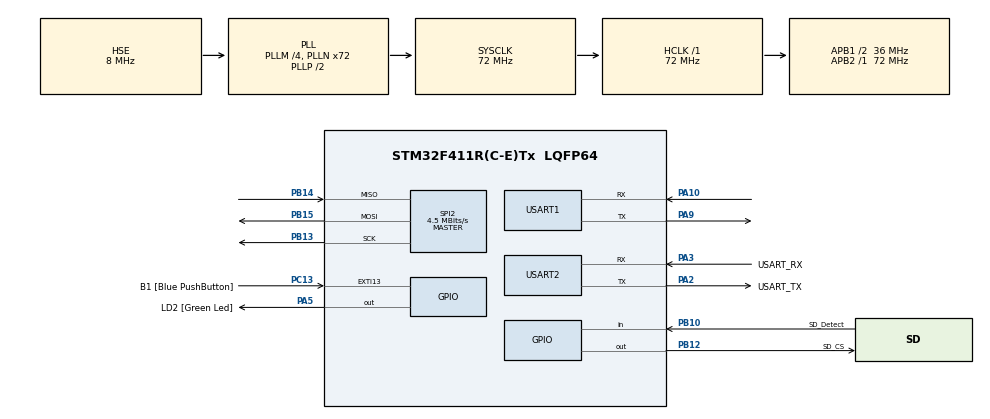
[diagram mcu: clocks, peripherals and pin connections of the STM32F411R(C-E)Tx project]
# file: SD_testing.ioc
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FATFS._FS_TINY=0
FATFS._MAX_SS=512
FATFS._USE_LFN=0
Mcu.Family=STM32F4
Mcu.Name=STM32F411R(C-E)Tx
Mcu.Package=LQFP64
NVIC.PriorityGroup=NVIC_PRIORITYGROUP_0
PA10.Mode=Asynchronous
PA10.Signal=USART1_RX
PA13.GPIO_Label=TMS
PA13.Mode=Serial_Wire
PA13.Signal=SYS_JTMS-SWDIO
PA14.GPIO_Label=TCK
PA14.Mode=Serial_Wire
PA14.Signal=SYS_JTCK-SWCLK
PA2.GPIO_Label=USART_TX
PA2.Mode=Asynchronous
PA2.Signal=USART2_TX
PA3.GPIO_Label=USART_RX
PA3.Mode=Asynchronous
PA3.Signal=USART2_RX
PA5.GPIO_Label=LD2 [Green Led]
PA5.Signal=GPIO_Output
PA9.Mode=Asynchronous
PA9.Signal=USART1_TX
PB10.GPIO_Label=SD_Detect
PB10.GPIO_PuPd=GPIO_PULLUP
PB10.Signal=GPIO_Input
PB12.GPIO_Label=SD_CS
PB12.GPIO_ModeDefaultOutputPP=GPIO_MODE_OUTPUT_PP
PB12.GPIO_PuPd=GPIO_PULLUP
PB12.GPIO_Speed=GPIO_SPEED_FREQ_HIGH
PB12.PinState=GPIO_PIN_SET
PB12.Signal=GPIO_Output
PB13.GPIO_PuPd=GPIO_PULLUP
PB13.Mode=Full_Duplex_Master
PB13.Signal=SPI2_SCK
PB14.GPIO_PuPd=GPIO_PULLUP
PB14.Mode=Full_Duplex_Master
PB14.Signal=SPI2_MISO
PB15.GPIO_PuPd=GPIO_PULLUP
PB15.Mode=Full_Duplex_Master
PB15.Signal=SPI2_MOSI
PC13-ANTI_TAMP.GPIO_Label=B1 [Blue PushButton]
PC13-ANTI_TAMP.GPIO_ModeDefaultEXTI=GPIO_MODE_IT_FALLING
PC13-ANTI_TAMP.Signal=GPXTI13
PC14-OSC32_IN.Mode=LSE-External-Oscillator
PC14-OSC32_IN.Signal=RCC_OSC32_IN
PC15-OSC32_OUT.Mode=LSE-External-Oscillator
PC15-OSC32_OUT.Signal=RCC_OSC32_OUT
PH0\ -\ OSC_IN.Mode=HSE-External-Clock-Source
PH0\ -\ OSC_IN.Signal=RCC_OSC_IN
PH1\ -\ OSC_OUT.Mode=HSE-External-Clock-Source
PH1\ -\ OSC_OUT.Signal=RCC_OSC_OUT
ProjectManager.HeapSize=0x200
ProjectManager.StackSize=0x400
ProjectManager.TargetToolchain=STM32CubeIDE
RCC.48MHZClocksFreq_Value=48000000
RCC.AHBFreq_Value=72000000
RCC.APB1CLKDivider=RCC_HCLK_DIV2
RCC.APB1Freq_Value=36000000
RCC.APB1TimFreq_Value=72000000
RCC.APB2Freq_Value=72000000
RCC.APB2TimFreq_Value=72000000
RCC.CortexFreq_Value=72000000
RCC.FLatency-AdvancedSettings=FLASH_LATENCY_2
RCC.HCLKFreq_Value=72000000
RCC.HSE_VALUE=8000000
RCC.HSI_VALUE=16000000
RCC.PLLM=4
RCC.PLLN=72
RCC.PLLQ=3
RCC.PLLSourceVirtual=RCC_PLLSOURCE_HSE
RCC.SYSCLKFreq_VALUE=72000000
RCC.SYSCLKSource=RCC_SYSCLKSOURCE_PLLCLK
RCC.VCOOutputFreq_Value=144000000
SPI2.BaudRatePrescaler=SPI_BAUDRATEPRESCALER_8
SPI2.CalculateBaudRate=4.5 MBits/s
SPI2.Direction=SPI_DIRECTION_2LINES
SPI2.Mode=SPI_MODE_MASTER
SPI2.VirtualType=VM_MASTER
USART1.VirtualMode=VM_ASYNC
USART2.VirtualMode=VM_ASYNC
VP_FATFS_VS_Generic.Mode=User_defined
board=NUCLEO-F411RE

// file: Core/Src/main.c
/* USER CODE BEGIN Header */
/**
  ******************************************************************************
  * @file           : main.c
  * @brief          : Main program body
  ******************************************************************************
  * @attention
  *
  * Copyright (c) 2024 STMicroelectronics.
  * All rights reserved.
  *
  * This software is licensed under terms that can be found in the LICENSE file
  * in the root directory of this software component.
  * If no LICENSE file comes with this software, it is provided AS-IS.
  *
  ******************************************************************************
  */
/* USER CODE END Header */
#include "main.h"
#include "fatfs.h"

/* USER CODE BEGIN Includes */
#include <stdio.h>
#include <string.h>
#include <stdarg.h>

/* USER CODE END Includes */

SPI_HandleTypeDef hspi2;

UART_HandleTypeDef huart1;
UART_HandleTypeDef huart2;

void SystemClock_Config(void);
static void MX_GPIO_Init(void);
static void MX_USART2_UART_Init(void);
static void MX_SPI2_Init(void);
static void MX_USART1_UART_Init(void);

/* USER CODE BEGIN 0 */
#ifdef __GNUC__
  /* With GCC, small printf (option LD Linker->Libraries->Small printf
     set to 'Yes') calls __io_putchar() */
int __io_putchar(int ch)
#else
int fputc(int ch, FILE *f)
#endif /* __GNUC__ */
{
  /* Place your implementation of fputc here */
  /* e.g. write a character to the UART3 and Loop until the end of transmission */
  HAL_UART_Transmit(&huart1, (uint8_t *)&ch, 1, HAL_MAX_DELAY);
  return ch;
}

/* USER CODE END 0 */

int main(void)
{

  /* MCU Configuration--------------------------------------------------------*/

  /* Reset of all peripherals, Initializes the Flash interface and the Systick. */
  HAL_Init();

  /* Configure the system clock */
  SystemClock_Config();

  /* Initialize all configured peripherals */
  MX_GPIO_Init();
  MX_USART2_UART_Init();
  MX_SPI2_Init();
  MX_FATFS_Init();
  MX_USART1_UART_Init();
  /* USER CODE BEGIN 2 */
  printf("\r\n~ SD card demo by kiwih ~\r\n\r\n");

  HAL_Delay(1000); //a short delay is important to let the SD card settle

  //some variables for FatFs
  FATFS FatFs; 	//Fatfs handle
  FIL fil; 		//File handle
  FRESULT fres; //Result after operations

  //Open the file system
  fres = f_mount(&FatFs, "", 1); //1=mount now
  if (fres != FR_OK) {
	printf("f_mount error (%i)\r\n", fres);
	while(1);
  }

  //Let's get some statistics from the SD card
  DWORD free_clusters, free_sectors, total_sectors;

  FATFS* getFreeFs;

  fres = f_getfree("", &free_clusters, &getFreeFs);
  if (fres != FR_OK) {
	printf("f_getfree error (%i)\r\n", fres);
	while(1);
  }

  //Formula comes from ChaN's documentation
  total_sectors = (getFreeFs->n_fatent - 2) * getFreeFs->csize;
  free_sectors = free_clusters * getFreeFs->csize;

  printf("SD card stats:\r\n%10lu KiB total drive space.\r\n%10lu KiB available.\r\n", total_sectors / 2, free_sectors / 2);

//  //Now let's try to open file "test.txt"
//  fres = f_open(&fil, "test.txt", FA_READ);
//  if (fres != FR_OK) {
//	printf("f_open error (%i)\r\n", fres);
//	while(1);
//  }
//  printf("I was able to open 'test.txt' for reading!\r\n");
//
//  //Read 30 bytes from "test.txt" on the SD card
//  BYTE readBuf[30];
//
//  //We can either use f_read OR f_gets to get data out of files
//  //f_gets is a wrapper on f_read that does some string formatting for us
//  TCHAR* rres = f_gets((TCHAR*)readBuf, 30, &fil);
//  if(rres != 0) {
//	printf("Read string from 'test.txt' contents: %s\r\n", readBuf);
//  } else {
//	printf("f_gets error (%i)\r\n", fres);
//  }
//
//  //Be a tidy kiwi - don't forget to close your file!
//  f_close(&fil);
//
//  //Now let's try and write a file "write.txt"
//  fres = f_open(&fil, "write.txt", FA_WRITE | FA_OPEN_ALWAYS | FA_CREATE_ALWAYS);
//  if(fres == FR_OK) {
//	printf("I was able to open 'write.txt' for writing\r\n");
//  } else {
//	printf("f_open error (%i)\r\n", fres);
//  }
//
//  //Copy in a string
//  strncpy((char*)readBuf, "a new file is made!", 20);
//  UINT bytesWrote;
//  fres = f_write(&fil, readBuf, 19, &bytesWrote);
//  if(fres == FR_OK) {
//	printf("Wrote %i bytes to 'write.txt'!\r\n", bytesWrote);
//  } else {
//	printf("f_write error (%i)\r\n", fres);
//  }
//
//  //Be a tidy kiwi - don't forget to close your file!
//  f_close(&fil);
//
//  //We're done, so de-mount the drive
//  f_mount(NULL, "", 0);
  /* USER CODE END 2 */

  /* Infinite loop */
  while (1)
  {

  }
}

void SystemClock_Config(void)
{
  RCC_OscInitTypeDef RCC_OscInitStruct = {0};
  RCC_ClkInitTypeDef RCC_ClkInitStruct = {0};

  /** Configure the main internal regulator output voltage
  */
  __HAL_RCC_PWR_CLK_ENABLE();
  __HAL_PWR_VOLTAGESCALING_CONFIG(PWR_REGULATOR_VOLTAGE_SCALE1);

  /** Initializes the RCC Oscillators according to the specified parameters
  * in the RCC_OscInitTypeDef structure.
  */
  RCC_OscInitStruct.OscillatorType = RCC_OSCILLATORTYPE_HSE;
  RCC_OscInitStruct.HSEState = RCC_HSE_BYPASS;
  RCC_OscInitStruct.PLL.PLLState = RCC_PLL_ON;
  RCC_OscInitStruct.PLL.PLLSource = RCC_PLLSOURCE_HSE;
  RCC_OscInitStruct.PLL.PLLM = 4;
  RCC_OscInitStruct.PLL.PLLN = 72;
  RCC_OscInitStruct.PLL.PLLP = RCC_PLLP_DIV2;
  RCC_OscInitStruct.PLL.PLLQ = 3;
  if (HAL_RCC_OscConfig(&RCC_OscInitStruct) != HAL_OK)
  {
    Error_Handler();
  }

  /** Initializes the CPU, AHB and APB buses clocks
  */
  RCC_ClkInitStruct.ClockType = RCC_CLOCKTYPE_HCLK|RCC_CLOCKTYPE_SYSCLK
                              |RCC_CLOCKTYPE_PCLK1|RCC_CLOCKTYPE_PCLK2;
  RCC_ClkInitStruct.SYSCLKSource = RCC_SYSCLKSOURCE_PLLCLK;
  RCC_ClkInitStruct.AHBCLKDivider = RCC_SYSCLK_DIV1;
  RCC_ClkInitStruct.APB1CLKDivider = RCC_HCLK_DIV2;
  RCC_ClkInitStruct.APB2CLKDivider = RCC_HCLK_DIV1;

  if (HAL_RCC_ClockConfig(&RCC_ClkInitStruct, FLASH_LATENCY_2) != HAL_OK)
  {
    Error_Handler();
  }
}

static void MX_SPI2_Init(void)
{

  /* SPI2 parameter configuration*/
  hspi2.Instance = SPI2;
  hspi2.Init.Mode = SPI_MODE_MASTER;
  hspi2.Init.Direction = SPI_DIRECTION_2LINES;
  hspi2.Init.DataSize = SPI_DATASIZE_8BIT;
  hspi2.Init.CLKPolarity = SPI_POLARITY_LOW;
  hspi2.Init.CLKPhase = SPI_PHASE_1EDGE;
  hspi2.Init.NSS = SPI_NSS_SOFT;
  hspi2.Init.BaudRatePrescaler = SPI_BAUDRATEPRESCALER_8;
  hspi2.Init.FirstBit = SPI_FIRSTBIT_MSB;
  hspi2.Init.TIMode = SPI_TIMODE_DISABLE;
  hspi2.Init.CRCCalculation = SPI_CRCCALCULATION_DISABLE;
  hspi2.Init.CRCPolynomial = 10;
  if (HAL_SPI_Init(&hspi2) != HAL_OK)
  {
    Error_Handler();
  }

}

static void MX_USART1_UART_Init(void)
{

  huart1.Instance = USART1;
  huart1.Init.BaudRate = 115200;
  huart1.Init.WordLength = UART_WORDLENGTH_8B;
  huart1.Init.StopBits = UART_STOPBITS_1;
  huart1.Init.Parity = UART_PARITY_NONE;
  huart1.Init.Mode = UART_MODE_TX_RX;
  huart1.Init.HwFlowCtl = UART_HWCONTROL_NONE;
  huart1.Init.OverSampling = UART_OVERSAMPLING_16;
  if (HAL_UART_Init(&huart1) != HAL_OK)
  {
    Error_Handler();
  }

}

static void MX_USART2_UART_Init(void)
{

  huart2.Instance = USART2;
  huart2.Init.BaudRate = 115200;
  huart2.Init.WordLength = UART_WORDLENGTH_8B;
  huart2.Init.StopBits = UART_STOPBITS_1;
  huart2.Init.Parity = UART_PARITY_NONE;
  huart2.Init.Mode = UART_MODE_TX_RX;
  huart2.Init.HwFlowCtl = UART_HWCONTROL_NONE;
  huart2.Init.OverSampling = UART_OVERSAMPLING_16;
  if (HAL_UART_Init(&huart2) != HAL_OK)
  {
    Error_Handler();
  }

}

static void MX_GPIO_Init(void)
{
  GPIO_InitTypeDef GPIO_InitStruct = {0};

  /* GPIO Ports Clock Enable */
  __HAL_RCC_GPIOC_CLK_ENABLE();
  __HAL_RCC_GPIOH_CLK_ENABLE();
  __HAL_RCC_GPIOA_CLK_ENABLE();
  __HAL_RCC_GPIOB_CLK_ENABLE();

  /*Configure GPIO pin Output Level */
  HAL_GPIO_WritePin(LD2_GPIO_Port, LD2_Pin, GPIO_PIN_RESET);

  /*Configure GPIO pin Output Level */
  HAL_GPIO_WritePin(SD_CS_GPIO_Port, SD_CS_Pin, GPIO_PIN_SET);

  /*Configure GPIO pin : B1_Pin */
  GPIO_InitStruct.Pin = B1_Pin;
  GPIO_InitStruct.Mode = GPIO_MODE_IT_FALLING;
  GPIO_InitStruct.Pull = GPIO_NOPULL;
  HAL_GPIO_Init(B1_GPIO_Port, &GPIO_InitStruct);

  /*Configure GPIO pin : LD2_Pin */
  GPIO_InitStruct.Pin = LD2_Pin;
  GPIO_InitStruct.Mode = GPIO_MODE_OUTPUT_PP;
  GPIO_InitStruct.Pull = GPIO_NOPULL;
  GPIO_InitStruct.Speed = GPIO_SPEED_FREQ_LOW;
  HAL_GPIO_Init(LD2_GPIO_Port, &GPIO_InitStruct);

  /*Configure GPIO pin : SD_Detect_Pin */
  GPIO_InitStruct.Pin = SD_Detect_Pin;
  GPIO_InitStruct.Mode = GPIO_MODE_INPUT;
  GPIO_InitStruct.Pull = GPIO_PULLUP;
  HAL_GPIO_Init(SD_Detect_GPIO_Port, &GPIO_InitStruct);

  /*Configure GPIO pin : SD_CS_Pin */
  GPIO_InitStruct.Pin = SD_CS_Pin;
  GPIO_InitStruct.Mode = GPIO_MODE_OUTPUT_PP;
  GPIO_InitStruct.Pull = GPIO_PULLUP;
  GPIO_InitStruct.Speed = GPIO_SPEED_FREQ_HIGH;
  HAL_GPIO_Init(SD_CS_GPIO_Port, &GPIO_InitStruct);

}

void Error_Handler(void)
{
  __disable_irq();
  while (1)
  {
  }
}
